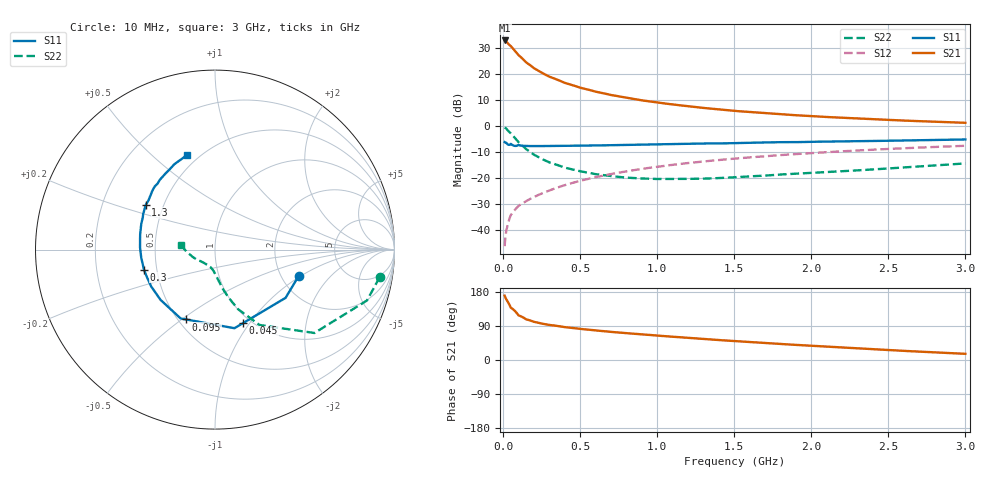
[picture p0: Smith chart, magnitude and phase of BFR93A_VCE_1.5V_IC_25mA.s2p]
! Infineon Technologies  Discrete & RF Semiconductors
! BFR93A
! VCE =  1.5 V,  IC =  25 mA
! Common Emitter S-Parameters:  Nov 2015
# GHz  S  MA  R  50
!  f  S11  S21  S12  S22
! GHz  MAG  ANG  MAG  ANG  MAG  ANG  MAG  ANG
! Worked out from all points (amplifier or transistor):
!   180 points, 10 MHz to 3 GHz, reference 50 ohm
!   highest |S21| = 33.0 dB at 10 MHz (marker M1)
!   |S21| within 3 dB of that: start of sweep to 62.47 MHz
!   unconditionally stable (mu >= 1): 348.7 MHz to end of sweep
!   at 160 MHz: K = 0.78, MSG = 26.4 dB, |S12| = -28.7 dB
!   at 1.22 GHz: K = 1.09, MAG = 9.0 dB, |S12| = -14.2 dB
!   at 3 GHz: K = 1.02, MAG = 3.7 dB, |S12| = -7.6 dB
!   S11 on the Smith chart (normalised r, x): 10 MHz: 2.47, -0.96; 45 MHz: 0.92, -0.93; 95 MHz: 0.55, -0.52; 300 MHz: 0.42, -0.11; 1.3 GHz: 0.40, +0.25; 3 GHz: 0.43, +0.65
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0.01  0.4884 -17.7  44.57 169.9  0.0048 82.6  0.9304 -9.5
0.02  0.4762 -34.4  42.79 160.6  0.0092 76.6  0.893 -18.5
0.045  0.4384 -69.2  35.62 142.7  0.0174 66.5  0.7431 -35.8
0.05  0.4512 -76.1  34.7 138.3  0.0191 65.5  0.7231 -40.0
0.095  0.4213 -112.5  24.26 120.8  0.0276 59.8  0.5077 -56.7
0.1  0.4288 -116.5  23.3 117.9  0.0286 59.4  0.4877 -59.4
0.15  0.4129 -137.3  16.83 107.3  0.0355 59.9  0.3562 -68.8
0.2  0.4107 -150.0  13.05 100.8  0.0425 62.3  0.2797 -74.1
0.24  0.4091 -156.7  11.1 97.1  0.0482 63.7  0.2411 -77.2
0.26  0.4096 -159.6  10.28 95.4  0.051 64.4  0.2249 -78.6
0.3  0.4112 -164.2  8.933 92.5  0.0568 65.6  0.1985 -80.8
0.4  0.4134 -173.7  6.782 86.7  0.0721 67.1  0.157 -85.9
0.52  0.4181 177.5  5.301 81.3  0.0904 67.7  0.1306 -90.6
0.6  0.4207 173.3  4.598 78.0  0.1026 67.5  0.1176 -94.4
0.7  0.4254 168.6  3.959 74.2  0.1181 67.0  0.108 -98.8
0.82  0.4306 163.8  3.415 70.2  0.1361 66.0  0.1 -105.2
1.02  0.4402 156.1  2.78 63.8  0.1661 63.8  0.0949 -115.3
1.3  0.4592 147.1  2.228 55.3  0.2063 60.3  0.0963 -130.3
1.52  0.4671 140.9  1.934 49.4  0.2368 57.3  0.1032 -140.9
2.02  0.4957 128.3  1.535 37.2  0.3022 50.4  0.1255 -158.5
2.52  0.5206 117.2  1.303 26.0  0.3624 43.0  0.1529 -173.3
3  0.5489 106.5  1.15 16.3  0.4147 35.9  0.1896 172.9
